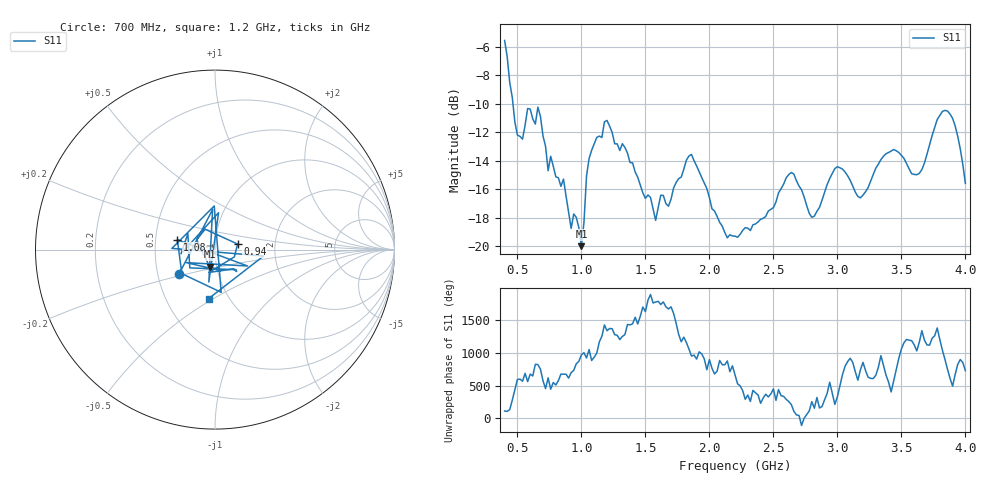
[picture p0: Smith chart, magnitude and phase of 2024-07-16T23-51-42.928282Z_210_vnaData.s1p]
!Created with skrf (http://scikit-rf.org).
# Hz S RI R 50.0
!freq ReS11 ImS11
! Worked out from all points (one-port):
!   181 points, 400 MHz to 4 GHz, reference 50 ohm
!   lowest |S11| = -20.0 dB at 1 GHz (marker M1), VSWR 1.22, Z = 46.3 - j8.91 ohm
!   |S11| at or under -10 dB: 465.1 MHz to end of sweep
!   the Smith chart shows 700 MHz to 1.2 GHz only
!   S11 on the Smith chart (normalised r, x): 700 MHz: 0.64, -0.19; 940 MHz: 1.28, +0.08; 1.08 GHz: 0.65, +0.07; 1.2 GHz: 0.80, -0.48
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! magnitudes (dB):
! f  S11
! 400 MHz  -5.6
! 500 MHz  -12.2
! 660 MHz  -10.2
! 700 MHz  -12.3
! 740 MHz  -14.7
! 860 MHz  -15.3
! 920 MHz  -18.8
! 940 MHz  -17.8
! 1 GHz  -20.0
! 1.04 GHz  -15.1
! 1.08 GHz  -13.3
! 1.2 GHz  -11.2
! 1.3 GHz  -13.3
! 1.58 GHz  -18.2
! 1.76 GHz  -15.3
! 1.86 GHz  -13.6
! 2.2 GHz  -19.3
! 2.66 GHz  -14.9
! 2.8 GHz  -18.0
! 2.98 GHz  -14.6
! 3.1 GHz  -15.4
! 3.18 GHz  -16.6
! 3.44 GHz  -13.2
! 3.56 GHz  -14.6
! 3.66 GHz  -14.6
! 3.86 GHz  -10.5
! 3.92 GHz  -11.6
! 4 GHz  -15.6
